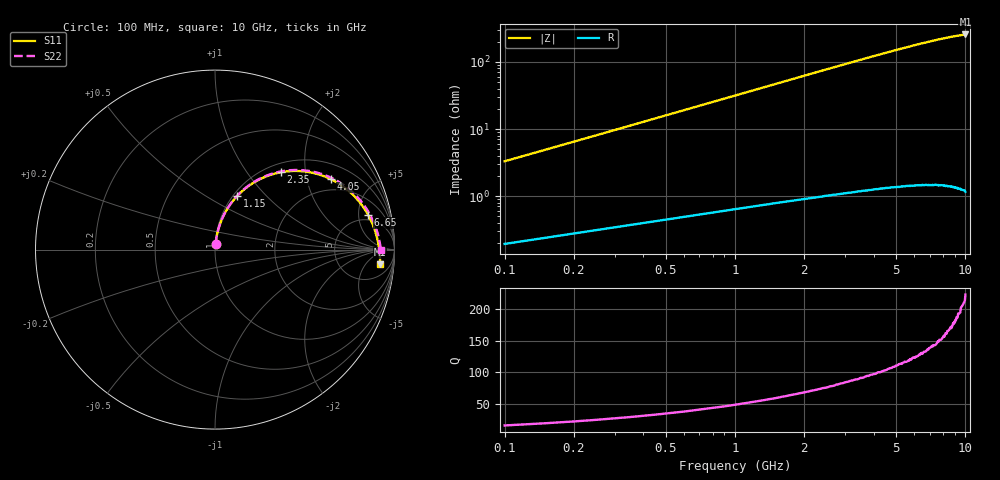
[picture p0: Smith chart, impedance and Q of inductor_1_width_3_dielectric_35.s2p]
# GHZ S MA R 50.00000
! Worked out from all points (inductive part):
!   199 points, 100 MHz to 10 GHz, reference 50 ohm
!   read as one part in series: L = 5.19 nH near 100 MHz
!   highest Q = 222 at 10 GHz (marker M1), where L = 4.09 nH
!   S11 on the Smith chart (normalised r, x): 100 MHz: 1.00, +0.06; 1.15 GHz: 1.04, +0.69; 2.35 GHz: 1.16, +1.46; 4.05 GHz: 1.54, +2.81; 6.65 GHz: 4.01, +6.58; 10 GHz: 11, -12
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0.1  0.03117 84.5  0.9976 -2.0  0.9976 -2.0  0.03117 84.5
0.15  0.04614 84.1  0.9966 -2.9  0.9966 -2.9  0.04613 84.1
0.2  0.06098 83.5  0.9954 -3.9  0.9954 -3.9  0.06098 83.5
0.25  0.07574 82.8  0.994 -4.8  0.994 -4.8  0.07574 82.8
0.35  0.105 81.2  0.9908 -6.7  0.9908 -6.7  0.105 81.3
0.45  0.1338 79.6  0.9868 -8.6  0.9868 -8.6  0.1338 79.7
0.6  0.1763 77.0  0.9795 -11.4  0.9795 -11.4  0.1763 77.1
0.75  0.2177 74.4  0.9707 -14.1  0.9707 -14.1  0.2177 74.6
0.95  0.2708 71.0  0.9567 -17.6  0.9567 -17.6  0.2708 71.2
1.15  0.3215 67.6  0.9404 -21.1  0.9404 -21.1  0.3215 67.9
1.45  0.3922 62.8  0.9128 -26.1  0.9128 -26.1  0.3921 63.1
1.75  0.4562 58.1  0.8823 -30.7  0.8823 -30.7  0.4562 58.6
2.35  0.5645 49.7  0.8173 -39.2  0.8173 -39.2  0.5645 50.3
2.85  0.6363 43.5  0.7631 -45.4  0.7631 -45.4  0.6362 44.2
3.4  0.699 37.5  0.7065 -51.4  0.7065 -51.4  0.699 38.3
4.05  0.7559 31.2  0.6461 -57.6  0.6461 -57.6  0.7559 32.3
5.05  0.8172 23.2  0.5678 -65.6  0.5678 -65.6  0.8172 24.6
5.8  0.8489 18.0  0.52 -70.7  0.52 -70.7  0.849 19.7
6.65  0.875 12.7  0.4755 -75.7  0.4755 -75.7  0.8751 14.9
6.7  0.8763 12.4  0.4731 -76.0  0.4731 -76.0  0.8764 14.6
8.35  0.9074 3.4  0.4112 -84.6  0.4112 -84.6  0.9077 6.7
10  0.9235 -5.0  0.3732 -92.3  0.3732 -92.3  0.9241 -0.2
